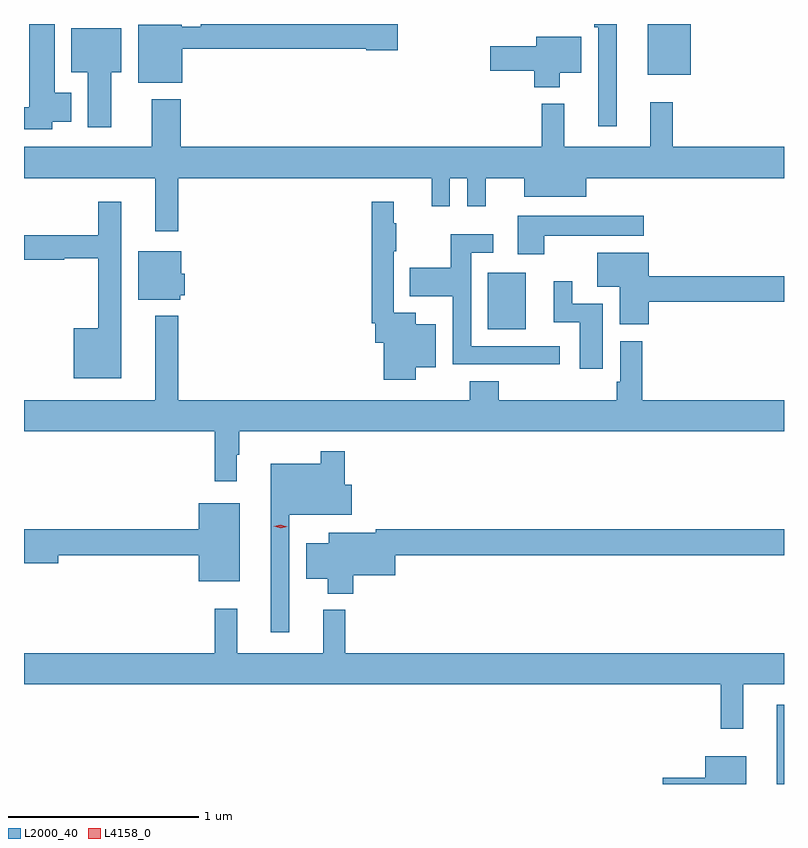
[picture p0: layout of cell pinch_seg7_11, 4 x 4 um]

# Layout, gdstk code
import gdstk
lib = gdstk.Library(unit=1e-6, precision=1e-09)
def R(c, l, rs):  # rectangles x0, y0, x1, y1
    for r in rs: c.add(gdstk.rectangle(r[:2], r[2:], *l))
def P(c, l, *ps):  # polygons
    for p in ps: c.add(gdstk.Polygon(p, *l))
L2000_40 = (2000, 40)
L4158_0 = (4158, 0)

pinch_seg7_11 = lib.new_cell('pinch_seg7_11')
R(pinch_seg7_11, L2000_40, [(1032.644,1048.043,1032.681,1048.459), (1031.123,1050.437,1031.323,1050.733), (1031.963,1051.775,1032.19,1052.043)])
P(pinch_seg7_11, L2000_40, [(1029.514,1051.912),(1030.482,1051.912),(1030.482,1051.904),(1030.649,1051.904),(1030.649,1052.043),(1029.61,1052.043),(1029.61,1052.028),(1029.51,1052.028),(1029.51,1052.038),(1029.281,1052.038),(1029.281,1051.733),(1029.514,1051.733)],
  [(1028.83,1051.529),(1028.929,1051.529),(1028.929,1051.681),(1028.842,1051.681),(1028.842,1052.043),(1028.708,1052.043),(1028.708,1051.604),(1028.681,1051.604),(1028.681,1051.488),(1028.83,1051.488)],
  [(1031.8,1052.043),(1031.683,1052.043),(1031.683,1052.027),(1031.703,1052.027),(1031.703,1051.506),(1031.8,1051.506)],
  [(1029.139,1051.79),(1029.193,1051.79),(1029.193,1052.02),(1028.93,1052.02),(1028.93,1051.79),(1029.017,1051.79),(1029.017,1051.5),(1029.139,1051.5)],
  [(1031.5,1051.787),(1031.614,1051.787),(1031.614,1051.975),(1031.378,1051.975),(1031.378,1051.927),(1031.136,1051.927),(1031.136,1051.798),(1031.366,1051.798),(1031.366,1051.709),(1031.5,1051.709)],
  [(1029.493,1051.232),(1030.826,1051.232),(1030.826,1051.083),(1030.923,1051.083),(1030.923,1051.232),(1031.013,1051.232),(1031.013,1051.083),(1031.111,1051.083),(1031.111,1051.232),(1031.315,1051.232),(1031.315,1051.133),(1031.641,1051.133),(1031.641,1051.232),(1032.681,1051.232),(1032.681,1051.396),(1032.095,1051.396),(1032.095,1051.63),(1031.978,1051.63),(1031.978,1051.396),(1031.525,1051.396),(1031.525,1051.624),(1031.407,1051.624),(1031.407,1051.396),(1029.506,1051.396),(1029.506,1051.648),(1029.353,1051.648),(1029.353,1051.396),(1028.681,1051.396),(1028.681,1051.232),(1029.371,1051.232),(1029.371,1050.951),(1029.493,1050.951)],
  [(1029.193,1051.108),(1029.072,1051.108),(1029.072,1050.931),(1028.681,1050.931),(1028.681,1050.802),(1028.893,1050.802),(1028.893,1050.81),(1029.072,1050.81),(1029.072,1050.442),(1028.942,1050.442),(1028.942,1050.179),(1029.193,1050.179)],
  [(1030.744,1050.236),(1030.849,1050.236),(1030.849,1050.463),(1030.744,1050.463),(1030.744,1050.523),(1030.626,1050.523),(1030.626,1050.847),(1030.639,1050.847),(1030.639,1050.995),(1030.628,1050.995),(1030.628,1051.108),(1030.51,1051.108),(1030.51,1050.469),(1030.53,1050.469),(1030.53,1050.365),(1030.574,1050.365),(1030.574,1050.171),(1030.744,1050.171)],
  [(1031.419,1050.929),(1031.944,1050.929),(1031.944,1051.033),(1031.279,1051.033),(1031.279,1050.831),(1031.419,1050.831)],
  [(1031.5,1050.348),(1031.034,1050.348),(1031.034,1050.84),(1031.152,1050.84),(1031.152,1050.937),(1030.926,1050.937),(1030.926,1050.759),(1030.711,1050.759),(1030.711,1050.611),(1030.938,1050.611),(1030.938,1050.252),(1031.263,1050.252),(1031.263,1050.251),(1031.5,1050.251)],
  [(1029.504,1050.615),(1029.526,1050.615),(1029.526,1050.729),(1029.508,1050.729),(1029.508,1050.847),(1029.281,1050.847),(1029.281,1050.593),(1029.504,1050.593)],
  [(1031.969,1050.58),(1032.681,1050.58),(1032.681,1050.716),(1031.968,1050.716),(1031.968,1050.838),(1031.699,1050.838),(1031.699,1050.659),(1031.816,1050.659),(1031.816,1050.462),(1031.969,1050.462)],
  [(1031.728,1050.57),(1031.566,1050.57),(1031.566,1050.688),(1031.468,1050.688),(1031.468,1050.474),(1031.606,1050.474),(1031.606,1050.228),(1031.728,1050.228)],
  [(1029.802,1049.777),(1029.814,1049.777),(1029.814,1049.9),(1032.681,1049.9),(1032.681,1050.064),(1031.936,1050.064),(1031.936,1050.373),(1031.82,1050.373),(1031.82,1050.16),(1031.8,1050.16),(1031.8,1050.064),(1031.18,1050.064),(1031.18,1050.163),(1031.027,1050.163),(1031.027,1050.064),(1029.493,1050.064),(1029.493,1050.508),(1029.371,1050.508),(1029.371,1050.064),(1028.681,1050.064),(1028.681,1049.9),(1029.685,1049.9),(1029.685,1049.637),(1029.802,1049.637)],
  [(1030.077,1049.459),(1030.405,1049.459),(1030.405,1049.617),(1030.37,1049.617),(1030.37,1049.794),(1030.242,1049.794),(1030.242,1049.728),(1029.98,1049.728),(1029.98,1048.842),(1030.077,1048.842)],
  [(1029.817,1049.521),(1029.602,1049.521),(1029.602,1049.384),(1028.681,1049.384),(1028.681,1049.206),(1028.86,1049.206),(1028.86,1049.248),(1029.602,1049.248),(1029.602,1049.111),(1029.817,1049.111)],
  [(1030.415,1049.141),(1030.636,1049.141),(1030.636,1049.248),(1032.681,1049.248),(1032.681,1049.384),(1030.532,1049.384),(1030.532,1049.365),(1030.286,1049.365),(1030.286,1049.311),(1030.166,1049.311),(1030.166,1049.123),(1030.28,1049.123),(1030.28,1049.045),(1030.415,1049.045)],
  [(1032.467,1048.568),(1032.681,1048.568),(1032.681,1048.732),(1030.373,1048.732),(1030.373,1048.96),(1030.256,1048.96),(1030.256,1048.732),(1029.803,1048.732),(1029.803,1048.966),(1029.685,1048.966),(1029.685,1048.732),(1028.681,1048.732),(1028.681,1048.568),(1032.349,1048.568),(1032.349,1048.335),(1032.467,1048.335)],
  [(1032.481,1048.189),(1032.266,1048.189),(1032.266,1048.076),(1032.042,1048.076),(1032.042,1048.043),(1032.481,1048.043)])
P(pinch_seg7_11, L4158_0, [(1030.031,1049.388),(1029.996,1049.4),(1029.996,1049.4),(1029.996,1049.4),(1030.032,1049.408),(1030.067,1049.397),(1030.067,1049.397),(1030.067,1049.396)])

lib.write_gds('pinch_seg7_11.gds')
